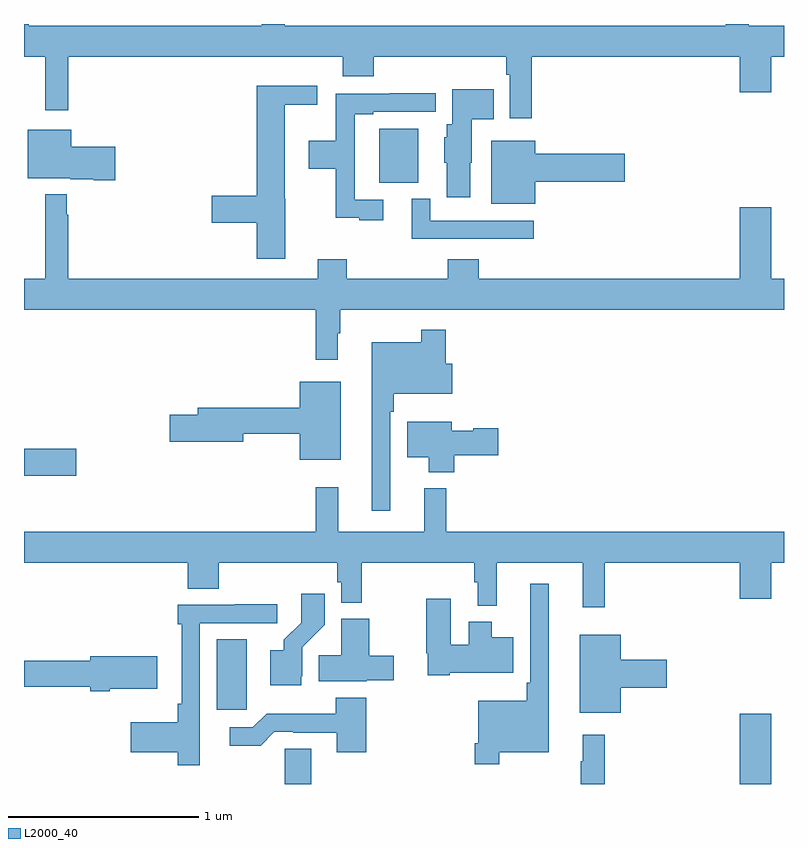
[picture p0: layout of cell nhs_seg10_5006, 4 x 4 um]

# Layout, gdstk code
import gdstk
lib = gdstk.Library(unit=1e-6, precision=1e-09)
def R(c, l, rs):  # rectangles x0, y0, x1, y1
    for r in rs: c.add(gdstk.rectangle(r[:2], r[2:], *l))
def P(c, l, *ps):  # polygons
    for p in ps: c.add(gdstk.Polygon(p, *l))
L2000_40 = (2000, 40)

nhs_seg10_5006 = lib.new_cell('nhs_seg10_5006')
R(nhs_seg10_5006, L2000_40, [(402.372,1284.5,402.511,1284.686), (404.768,1284.5,404.932,1284.871), (402.014,1284.891,402.172,1285.261), (401,1286.122,401.275,1286.264), (402.869,1287.665,403.075,1287.949)])
P(nhs_seg10_5006, L2000_40, [(403.673,1288.328),(404.768,1288.328),(404.768,1288.14),(404.932,1288.14),(404.932,1288.328),(405,1288.328),(405,1288.492),(404.815,1288.492),(404.815,1288.5),(404.694,1288.5),(404.694,1288.492),(402.373,1288.492),(402.373,1288.5),(402.252,1288.5),(402.252,1288.492),(401.024,1288.492),(401.024,1288.5),(401,1288.5),(401,1288.328),(401.111,1288.328),(401.111,1288.047),(401.233,1288.047),(401.233,1288.328),(402.677,1288.328),(402.677,1288.226),(402.842,1288.226),(402.842,1288.328),(403.537,1288.328),(403.537,1288.232),(403.557,1288.232),(403.557,1288.005),(403.673,1288.005)],
  [(402.376,1287.579),(402.373,1287.579),(402.373,1288.076),(402.544,1288.076),(402.544,1288.174),(402.224,1288.174),(402.224,1287.596),(401.988,1287.596),(401.988,1287.454),(402.224,1287.454),(402.224,1287.264),(402.376,1287.264)],
  [(403.348,1287.771),(403.357,1287.771),(403.357,1287.998),(403.472,1287.998),(403.472,1288.156),(403.253,1288.156),(403.253,1287.972),(403.226,1287.972),(403.226,1287.903),(403.211,1287.903),(403.211,1287.771),(403.226,1287.771),(403.226,1287.588),(403.348,1287.588)],
  [(402.892,1287.576),(402.741,1287.576),(402.741,1288.026),(402.838,1288.026),(402.838,1288.038),(403.168,1288.038),(403.168,1288.136),(402.925,1288.136),(402.925,1288.134),(402.64,1288.134),(402.64,1287.886),(402.498,1287.886),(402.498,1287.739),(402.64,1287.739),(402.64,1287.479),(402.764,1287.479),(402.764,1287.468),(402.892,1287.468)],
  [(401.479,1287.855),(401.248,1287.855),(401.248,1287.943),(401.021,1287.943),(401.021,1287.689),(401.244,1287.689),(401.244,1287.683),(401.366,1287.683),(401.366,1287.677),(401.479,1287.677)],
  [(403.69,1287.671),(404.161,1287.671),(404.161,1287.818),(403.69,1287.818),(403.69,1287.886),(403.46,1287.886),(403.46,1287.554),(403.69,1287.554)],
  [(402.652,1286.873),(402.664,1286.873),(402.664,1286.996),(405,1286.996),(405,1287.16),(404.932,1287.16),(404.932,1287.535),(404.768,1287.535),(404.768,1287.16),(403.394,1287.16),(403.394,1287.262),(403.229,1287.262),(403.229,1287.16),(402.698,1287.16),(402.698,1287.262),(402.545,1287.262),(402.545,1287.16),(401.233,1287.16),(401.233,1287.497),(401.225,1287.497),(401.225,1287.604),(401.111,1287.604),(401.111,1287.16),(401,1287.16),(401,1286.996),(402.535,1286.996),(402.535,1286.733),(402.652,1286.733)],
  [(403.684,1287.465),(403.137,1287.465),(403.137,1287.58),(403.04,1287.58),(403.04,1287.369),(403.684,1287.369)],
  [(402.927,1286.459),(402.947,1286.459),(402.947,1286.555),(403.255,1286.555),(403.255,1286.713),(403.22,1286.713),(403.22,1286.89),(403.092,1286.89),(403.092,1286.824),(402.83,1286.824),(402.83,1285.938),(402.927,1285.938)],
  [(402.667,1286.617),(402.452,1286.617),(402.452,1286.48),(401.915,1286.48),(401.915,1286.444),(401.766,1286.444),(401.766,1286.302),(402.154,1286.302),(402.154,1286.344),(402.452,1286.344),(402.452,1286.207),(402.667,1286.207)],
  [(403.265,1286.23),(403.495,1286.23),(403.495,1286.372),(403.365,1286.372),(403.365,1286.359),(403.252,1286.359),(403.252,1286.407),(403.016,1286.407),(403.016,1286.219),(403.13,1286.219),(403.13,1286.141),(403.265,1286.141)],
  [(404.057,1285.664),(404.768,1285.664),(404.768,1285.476),(404.932,1285.476),(404.932,1285.664),(405,1285.664),(405,1285.828),(403.223,1285.828),(403.223,1286.056),(403.106,1286.056),(403.106,1285.828),(402.653,1285.828),(402.653,1286.062),(402.535,1286.062),(402.535,1285.828),(401,1285.828),(401,1285.664),(401.861,1285.664),(401.861,1285.528),(402.026,1285.528),(402.026,1285.664),(402.649,1285.664),(402.649,1285.563),(402.669,1285.563),(402.669,1285.454),(402.778,1285.454),(402.778,1285.664),(403.369,1285.664),(403.369,1285.561),(403.388,1285.561),(403.388,1285.439),(403.487,1285.439),(403.487,1285.664),(403.94,1285.664),(403.94,1285.431),(404.057,1285.431)],
  [(403.501,1284.668),(403.762,1284.668),(403.762,1285.555),(403.665,1285.555),(403.665,1285.033),(403.645,1285.033),(403.645,1284.937),(403.392,1284.937),(403.392,1284.715),(403.372,1284.715),(403.372,1284.603),(403.501,1284.603)],
  [(402.46,1285.068),(402.465,1285.068),(402.465,1285.219),(402.584,1285.338),(402.584,1285.501),(402.459,1285.501),(402.459,1285.349),(402.368,1285.259),(402.368,1285.204),(402.296,1285.204),(402.296,1285.019),(402.46,1285.019)],
  [(403.242,1285.085),(403.576,1285.085),(403.576,1285.273),(403.462,1285.273),(403.462,1285.354),(403.34,1285.354),(403.34,1285.233),(403.246,1285.233),(403.246,1285.474),(403.117,1285.474),(403.117,1285.189),(403.124,1285.189),(403.124,1285.073),(403.242,1285.073)],
  [(401.926,1284.822),(401.925,1284.822),(401.925,1285.347),(402.334,1285.347),(402.334,1285.446),(402.109,1285.446),(402.109,1285.443),(401.809,1285.443),(401.809,1285.34),(401.829,1285.34),(401.829,1284.922),(401.809,1284.922),(401.809,1284.826),(401.562,1284.826),(401.562,1284.668),(401.809,1284.668),(401.809,1284.6),(401.926,1284.6)],
  [(402.804,1285.046),(402.946,1285.046),(402.946,1285.176),(402.816,1285.176),(402.816,1285.369),(402.671,1285.369),(402.671,1285.178),(402.55,1285.178),(402.55,1285.04),(402.804,1285.04)],
  [(404.14,1285.007),(404.383,1285.007),(404.383,1285.154),(404.14,1285.154),(404.14,1285.285),(403.925,1285.285),(403.925,1284.875),(404.14,1284.875)],
  [(401.452,1285.001),(401.701,1285.001),(401.701,1285.172),(401.348,1285.172),(401.348,1285.148),(401,1285.148),(401,1285.012),(401.348,1285.012),(401.348,1284.989),(401.452,1284.989)],
  [(402.8,1284.955),(402.64,1284.955),(402.64,1284.871),(402.277,1284.871),(402.204,1284.798),(402.084,1284.798),(402.084,1284.701),(402.245,1284.701),(402.318,1284.774),(402.418,1284.774),(402.418,1284.771),(402.647,1284.771),(402.647,1284.666),(402.8,1284.666)],
  [(404.057,1284.76),(403.94,1284.76),(403.94,1284.62),(403.929,1284.62),(403.929,1284.5),(404.057,1284.5)])

lib.write_gds('nhs_seg10_5006.gds')
